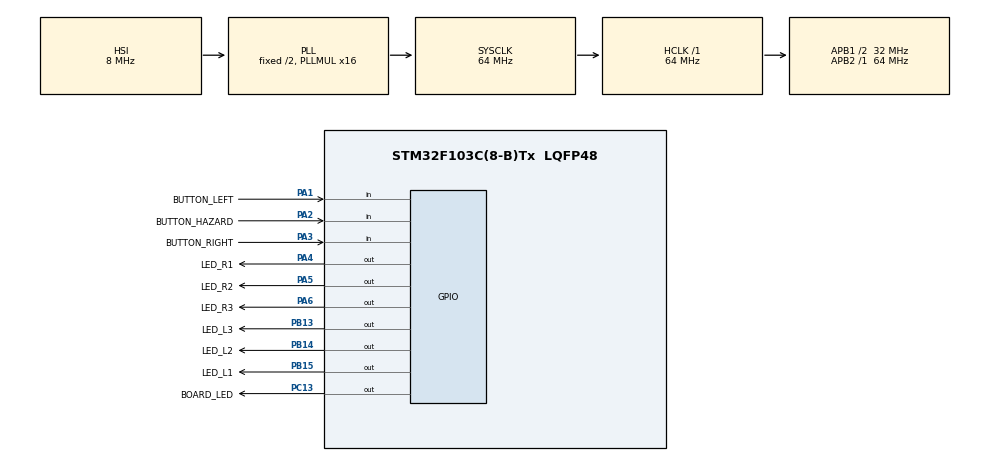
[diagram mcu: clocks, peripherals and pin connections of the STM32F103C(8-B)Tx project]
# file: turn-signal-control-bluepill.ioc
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Mcu.Family=STM32F1
Mcu.Name=STM32F103C(8-B)Tx
Mcu.Package=LQFP48
NVIC.PriorityGroup=NVIC_PRIORITYGROUP_4
NVIC.TIM2_IRQn=true\:0\:0\:false\:false\:true\:true\:true\:true
PA1.GPIO_Label=BUTTON_LEFT
PA1.GPIO_PuPd=GPIO_PULLUP
PA1.Signal=GPIO_Input
PA2.GPIO_Label=BUTTON_HAZARD
PA2.GPIO_PuPd=GPIO_PULLUP
PA2.Signal=GPIO_Input
PA3.GPIO_Label=BUTTON_RIGHT
PA3.GPIO_PuPd=GPIO_PULLUP
PA3.Signal=GPIO_Input
PA4.GPIO_Label=LED_R1
PA4.GPIO_Speed=GPIO_SPEED_FREQ_HIGH
PA4.Signal=GPIO_Output
PA5.GPIO_Label=LED_R2
PA5.GPIO_Speed=GPIO_SPEED_FREQ_HIGH
PA5.Signal=GPIO_Output
PA6.GPIO_Label=LED_R3
PA6.GPIO_Speed=GPIO_SPEED_FREQ_HIGH
PA6.Signal=GPIO_Output
PB13.GPIO_Label=LED_L3
PB13.GPIO_Speed=GPIO_SPEED_FREQ_HIGH
PB13.Signal=GPIO_Output
PB14.GPIO_Label=LED_L2
PB14.GPIO_Speed=GPIO_SPEED_FREQ_HIGH
PB14.Signal=GPIO_Output
PB15.GPIO_Label=LED_L1
PB15.GPIO_PuPd=GPIO_NOPULL
PB15.GPIO_Speed=GPIO_SPEED_FREQ_HIGH
PB15.Signal=GPIO_Output
PC13-TAMPER-RTC.GPIO_Label=BOARD_LED
PC13-TAMPER-RTC.PinState=GPIO_PIN_SET
PC13-TAMPER-RTC.Signal=GPIO_Output
ProjectManager.HeapSize=0x200
ProjectManager.StackSize=0x400
ProjectManager.TargetToolchain=STM32CubeIDE
RCC.AHBFreq_Value=64000000
RCC.APB1CLKDivider=RCC_HCLK_DIV2
RCC.APB1Freq_Value=32000000
RCC.APB1TimFreq_Value=64000000
RCC.APB2Freq_Value=64000000
RCC.APB2TimFreq_Value=64000000
RCC.HCLKFreq_Value=64000000
RCC.PLLMUL=RCC_PLL_MUL16
RCC.SYSCLKFreq_VALUE=64000000
RCC.SYSCLKSource=RCC_SYSCLKSOURCE_PLLCLK
RCC.USBFreq_Value=64000000
TIM2.Period=640
TIM2.Prescaler=1000
VP_TIM2_VS_ClockSourceINT.Mode=Internal
board=custom

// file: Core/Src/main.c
/* USER CODE BEGIN Header */
/**
  ******************************************************************************
  * @file           : main.c
  * @brief          : Main program body
  ******************************************************************************
  * @attention
  *
  * Copyright (c) 2023 STMicroelectronics.
  * All rights reserved.
  *
  * This software is licensed under terms that can be found in the LICENSE file
  * in the root directory of this software component.
  * If no LICENSE file comes with this software, it is provided AS-IS.
  *
  ******************************************************************************
  */
/* USER CODE END Header */
#include "main.h"

/* USER CODE BEGIN Includes */
#include "buttons.h"
#include "buttons_required.h"

#include "blink.h"
#include "blink_required.h"

#include "flash.h"
#include "flash_required.h"

#include "signalcontrol.h"
#include "signalcontrol_required.h"

#include "sc_timer_service.h"
#include "sc_rxc.h"
/* USER CODE END Includes */

/* USER CODE BEGIN PTD */
#define MAX_TIMERS BLINK_MAX_PARALLEL_TIME_EVENTS * 2 + FLASH_MAX_PARALLEL_TIME_EVENTS + BUTTONS_MAX_PARALLEL_TIME_EVENTS + SIGNALCONTROL_MAX_PARALLEL_TIME_EVENTS

#define TICK_MS 10

/* USER CODE END PTD */

TIM_HandleTypeDef htim2;

/* USER CODE BEGIN PV */

/* allocate all required state machines */
Buttons buttons;
Blink blink_right;
Blink blink_left;
Flash flash;
Signalcontrol control;

/* allocate statechart timer for all state machines */
sc_timer_t timers[MAX_TIMERS];
sc_timer_service_t timer_service;

/* USER CODE END PV */

void SystemClock_Config(void);
static void MX_GPIO_Init(void);
static void MX_TIM2_Init(void);

/* USER CODE BEGIN 0 */

static void led_write(sc_boolean right, sc_integer led, GPIO_PinState state) {

	if (right) {
		switch (led) {
			case 1:
				HAL_GPIO_WritePin(LED_R1_GPIO_Port, LED_R1_Pin, state);
				break;
			case 2:
				HAL_GPIO_WritePin(LED_R2_GPIO_Port, LED_R2_Pin, state);
				break;
			case 3:
				HAL_GPIO_WritePin(LED_R3_GPIO_Port, LED_R3_Pin, state);
				break;
		}
	}
	else {
		switch (led) {
			case 1:
				HAL_GPIO_WritePin(LED_L1_GPIO_Port, LED_L1_Pin, state);
				break;
			case 2:
				HAL_GPIO_WritePin(LED_L2_GPIO_Port, LED_L2_Pin, state);
				break;
			case 3:
				HAL_GPIO_WritePin(LED_L3_GPIO_Port, LED_L3_Pin, state);
				break;
		}
	}

}

/* implementation of callback functions for buttons state machine */

void buttons_pressed(const Buttons* handle, const uint16_t btn) {
	if ( btn == 3 ){
		signalcontrol_raise_hazard(&control);
	}
}

void buttons_released(const Buttons* handle, const uint16_t btn) {
}

void buttons_tipped(const Buttons* handle, const uint16_t btn) {
	switch ( btn ) {
		case 1:
			signalcontrol_raise_right(&control, true);
			break;
		case 2:
			signalcontrol_raise_left(&control, true);
			break;

	}
}

void buttons_selected(const Buttons* handle, const uint16_t btn) {
	switch ( btn ) {
		case 1:
			signalcontrol_raise_right(&control, false);
			break;
		case 2:
			signalcontrol_raise_left(&control, false);
			break;
		}
}

/* implementation of callback functions for flash state machine */

void flash_switchOn( Flash* handle, const sc_integer led) {
	led_write(bool_true, led, GPIO_PIN_SET);
	led_write(bool_false, led, GPIO_PIN_SET);
}

void flash_switchOff( Flash* handle, const sc_integer led) {
	led_write(bool_true, led, GPIO_PIN_RESET);
	led_write(bool_false, led, GPIO_PIN_RESET);
}

/* implementation of callback functions for blink state machine */

void blink_switchOn( Blink* handle, const sc_integer led) {
	led_write(handle == &blink_right, led, GPIO_PIN_SET);
}

void blink_switchOff( Blink* handle, const sc_integer led) {
	led_write(handle == &blink_right, led, GPIO_PIN_RESET);
}

/* we use a single timer instance so the raised time events must be dispatched. */

void dispatch_time_event(void* handle, sc_eventid evid) {
	if ( handle == &blink_left || handle == &blink_right) blink_raise_time_event(handle, evid);
	else if ( handle == &flash ) flash_raise_time_event(handle, evid);
	else if ( handle == &buttons ) buttons_raise_time_event(&buttons, evid);
	else if ( handle == &control ) signalcontrol_raise_time_event(&control, evid);
}

/* USER CODE END 0 */

int main(void)
{

  /* MCU Configuration--------------------------------------------------------*/

  /* Reset of all peripherals, Initializes the Flash interface and the Systick. */
  HAL_Init();

  /* Configure the system clock */
  SystemClock_Config();

  /* Initialize all configured peripherals */
  MX_GPIO_Init();
  MX_TIM2_Init();
  /* USER CODE BEGIN 2 */

  /* start hardware timer */
  HAL_TIM_Base_Start_IT(&htim2);
  /* initialize software timer */
  sc_timer_service_init(&timer_service, timers, MAX_TIMERS, (sc_raise_time_event_fp) &dispatch_time_event);

  /* initialize all required state machines */
  buttons_init(&buttons);
  blink_init(&blink_right);
  blink_init(&blink_left);
  flash_init(&flash);
  signalcontrol_init(&control);

  /* register sub state machines */
  signalcontrol_set_blinkRight(&control, &blink_right);
  signalcontrol_set_blinkLeft(&control, &blink_left);
  signalcontrol_set_flash(&control, &flash);

  /* activate buttons and signal control*/
  buttons_enter(&buttons);
  signalcontrol_enter(&control);

  /* USER CODE END 2 */

  /* Infinite loop */
  while (1)
  {

  }
}

void SystemClock_Config(void)
{
  RCC_OscInitTypeDef RCC_OscInitStruct = {0};
  RCC_ClkInitTypeDef RCC_ClkInitStruct = {0};

  /** Initializes the RCC Oscillators according to the specified parameters
  * in the RCC_OscInitTypeDef structure.
  */
  RCC_OscInitStruct.OscillatorType = RCC_OSCILLATORTYPE_HSI;
  RCC_OscInitStruct.HSIState = RCC_HSI_ON;
  RCC_OscInitStruct.HSICalibrationValue = RCC_HSICALIBRATION_DEFAULT;
  RCC_OscInitStruct.PLL.PLLState = RCC_PLL_ON;
  RCC_OscInitStruct.PLL.PLLSource = RCC_PLLSOURCE_HSI_DIV2;
  RCC_OscInitStruct.PLL.PLLMUL = RCC_PLL_MUL16;
  if (HAL_RCC_OscConfig(&RCC_OscInitStruct) != HAL_OK)
  {
    Error_Handler();
  }

  /** Initializes the CPU, AHB and APB buses clocks
  */
  RCC_ClkInitStruct.ClockType = RCC_CLOCKTYPE_HCLK|RCC_CLOCKTYPE_SYSCLK
                              |RCC_CLOCKTYPE_PCLK1|RCC_CLOCKTYPE_PCLK2;
  RCC_ClkInitStruct.SYSCLKSource = RCC_SYSCLKSOURCE_PLLCLK;
  RCC_ClkInitStruct.AHBCLKDivider = RCC_SYSCLK_DIV1;
  RCC_ClkInitStruct.APB1CLKDivider = RCC_HCLK_DIV2;
  RCC_ClkInitStruct.APB2CLKDivider = RCC_HCLK_DIV1;

  if (HAL_RCC_ClockConfig(&RCC_ClkInitStruct, FLASH_LATENCY_2) != HAL_OK)
  {
    Error_Handler();
  }
}

static void MX_TIM2_Init(void)
{

  TIM_ClockConfigTypeDef sClockSourceConfig = {0};
  TIM_MasterConfigTypeDef sMasterConfig = {0};

  htim2.Instance = TIM2;
  htim2.Init.Prescaler = 1000;
  htim2.Init.CounterMode = TIM_COUNTERMODE_UP;
  htim2.Init.Period = 640;
  htim2.Init.ClockDivision = TIM_CLOCKDIVISION_DIV1;
  htim2.Init.AutoReloadPreload = TIM_AUTORELOAD_PRELOAD_DISABLE;
  if (HAL_TIM_Base_Init(&htim2) != HAL_OK)
  {
    Error_Handler();
  }
  sClockSourceConfig.ClockSource = TIM_CLOCKSOURCE_INTERNAL;
  if (HAL_TIM_ConfigClockSource(&htim2, &sClockSourceConfig) != HAL_OK)
  {
    Error_Handler();
  }
  sMasterConfig.MasterOutputTrigger = TIM_TRGO_RESET;
  sMasterConfig.MasterSlaveMode = TIM_MASTERSLAVEMODE_DISABLE;
  if (HAL_TIMEx_MasterConfigSynchronization(&htim2, &sMasterConfig) != HAL_OK)
  {
    Error_Handler();
  }

}

static void MX_GPIO_Init(void)
{
  GPIO_InitTypeDef GPIO_InitStruct = {0};

  /* GPIO Ports Clock Enable */
  __HAL_RCC_GPIOC_CLK_ENABLE();
  __HAL_RCC_GPIOA_CLK_ENABLE();
  __HAL_RCC_GPIOB_CLK_ENABLE();

  /*Configure GPIO pin Output Level */
  HAL_GPIO_WritePin(BOARD_LED_GPIO_Port, BOARD_LED_Pin, GPIO_PIN_SET);

  /*Configure GPIO pin Output Level */
  HAL_GPIO_WritePin(GPIOA, LED_R1_Pin|LED_R2_Pin|LED_R3_Pin, GPIO_PIN_RESET);

  /*Configure GPIO pin Output Level */
  HAL_GPIO_WritePin(GPIOB, LED_L3_Pin|LED_L2_Pin|LED_L1_Pin, GPIO_PIN_RESET);

  /*Configure GPIO pin : BOARD_LED_Pin */
  GPIO_InitStruct.Pin = BOARD_LED_Pin;
  GPIO_InitStruct.Mode = GPIO_MODE_OUTPUT_PP;
  GPIO_InitStruct.Pull = GPIO_NOPULL;
  GPIO_InitStruct.Speed = GPIO_SPEED_FREQ_LOW;
  HAL_GPIO_Init(BOARD_LED_GPIO_Port, &GPIO_InitStruct);

  /*Configure GPIO pins : BUTTON_LEFT_Pin BUTTON_HAZARD_Pin BUTTON_RIGHT_Pin */
  GPIO_InitStruct.Pin = BUTTON_LEFT_Pin|BUTTON_HAZARD_Pin|BUTTON_RIGHT_Pin;
  GPIO_InitStruct.Mode = GPIO_MODE_INPUT;
  GPIO_InitStruct.Pull = GPIO_PULLUP;
  HAL_GPIO_Init(GPIOA, &GPIO_InitStruct);

  /*Configure GPIO pins : LED_R1_Pin LED_R2_Pin LED_R3_Pin */
  GPIO_InitStruct.Pin = LED_R1_Pin|LED_R2_Pin|LED_R3_Pin;
  GPIO_InitStruct.Mode = GPIO_MODE_OUTPUT_PP;
  GPIO_InitStruct.Pull = GPIO_NOPULL;
  GPIO_InitStruct.Speed = GPIO_SPEED_FREQ_HIGH;
  HAL_GPIO_Init(GPIOA, &GPIO_InitStruct);

  /*Configure GPIO pins : LED_L3_Pin LED_L2_Pin LED_L1_Pin */
  GPIO_InitStruct.Pin = LED_L3_Pin|LED_L2_Pin|LED_L1_Pin;
  GPIO_InitStruct.Mode = GPIO_MODE_OUTPUT_PP;
  GPIO_InitStruct.Pull = GPIO_NOPULL;
  GPIO_InitStruct.Speed = GPIO_SPEED_FREQ_HIGH;
  HAL_GPIO_Init(GPIOB, &GPIO_InitStruct);

}

/* USER CODE BEGIN 4 */

void HAL_TIM_PeriodElapsedCallback(TIM_HandleTypeDef* htim) {
	if(htim->Instance == htim2.Instance) {
		buttons_run_cycle(&buttons);
		sc_timer_service_proceed(&timer_service, TICK_MS);
	}
}

void buttons_set_timer( Buttons* handle, const sc_eventid evid, const sc_integer time_ms, const sc_boolean periodic){
	sc_timer_set(&timer_service, (void*) handle, evid, time_ms, periodic);
}

void buttons_unset_timer( Buttons* handle, const sc_eventid evid){
	sc_timer_unset(&timer_service, evid);
	(void) handle;
}

void blink_set_timer(Blink* handle, const sc_eventid evid, const sc_integer time_ms, const sc_boolean periodic){
	sc_timer_set(&timer_service, (void*) handle, evid, time_ms, periodic);
}

void blink_unset_timer(Blink* handle, const sc_eventid evid){
	sc_timer_unset(&timer_service, evid);
	(void) handle;
}

void flash_set_timer(Flash* handle, const sc_eventid evid, const sc_integer time_ms, const sc_boolean periodic){
	sc_timer_set(&timer_service, (void*) handle, evid, time_ms, periodic);
}

void flash_unset_timer(Flash* handle, const sc_eventid evid){
	sc_timer_unset(&timer_service, evid);
	(void) handle;
}

void signalcontrol_set_timer(Signalcontrol* handle, const sc_eventid evid, const sc_integer time_ms, const sc_boolean periodic){
	sc_timer_set(&timer_service, (void*) handle, evid, time_ms, periodic);
}

void signalcontrol_unset_timer(Signalcontrol* handle, const sc_eventid evid){
	sc_timer_unset(&timer_service, evid);
	(void) handle;
}

/* USER CODE END 4 */

void Error_Handler(void)
{
  __disable_irq();
  while (1)
  {
  }
}
